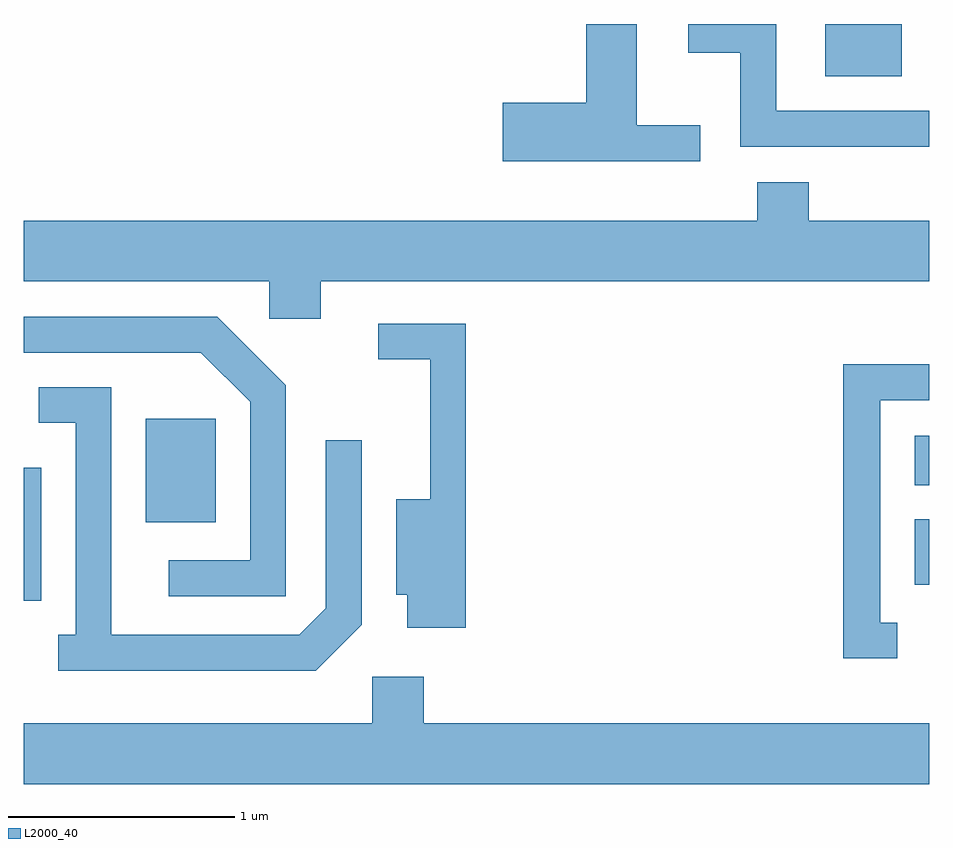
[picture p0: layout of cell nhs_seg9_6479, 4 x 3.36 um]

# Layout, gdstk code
import gdstk
lib = gdstk.Library(unit=1e-6, precision=1e-09)
def R(c, l, rs):  # rectangles x0, y0, x1, y1
    for r in rs: c.add(gdstk.rectangle(r[:2], r[2:], *l))
def P(c, l, *ps):  # polygons
    for p in ps: c.add(gdstk.Polygon(p, *l))
L2000_40 = (2000, 40)

nhs_seg9_6479 = lib.new_cell('nhs_seg9_6479')
R(nhs_seg9_6479, L2000_40, [(375.611,2065.886,375.689,2066.472), (379.546,2065.956,379.611,2066.244), (376.151,2066.231,376.459,2066.689), (379.546,2066.396,379.611,2066.614), (379.151,2068.201,379.489,2068.432)])
P(nhs_seg9_6479, L2000_40, [(378.598,2067.984),(378.319,2067.984),(378.319,2068.432),(378.096,2068.432),(378.096,2068.084),(377.726,2068.084),(377.726,2067.826),(378.598,2067.826)],
  [(379.611,2068.049),(378.934,2068.049),(378.934,2068.432),(378.546,2068.432),(378.546,2068.306),(378.776,2068.306),(378.776,2067.891),(379.611,2067.891)],
  [(376.924,2067.296),(379.611,2067.296),(379.611,2067.564),(379.079,2067.564),(379.079,2067.734),(378.851,2067.734),(378.851,2067.564),(375.611,2067.564),(375.611,2067.296),(376.696,2067.296),(376.696,2067.131),(376.924,2067.131)],
  [(376.769,2066.837),(376.467,2067.139),(375.611,2067.139),(375.611,2066.981),(376.394,2066.981),(376.611,2066.764),(376.611,2066.064),(376.253,2066.064),(376.253,2065.906),(376.769,2065.906)],
  [(377.564,2067.109),(377.178,2067.109),(377.178,2066.951),(377.406,2066.951),(377.406,2066.334),(377.256,2066.334),(377.256,2065.911),(377.306,2065.911),(377.306,2065.766),(377.564,2065.766)],
  [(379.468,2065.789),(379.394,2065.789),(379.394,2066.771),(379.611,2066.771),(379.611,2066.929),(379.231,2066.929),(379.231,2065.631),(379.468,2065.631)],
  [(377.104,2065.779),(377.104,2066.593),(376.946,2066.593),(376.946,2065.852),(376.829,2065.734),(375.999,2065.734),(375.999,2066.829),(375.678,2066.829),(375.678,2066.671),(375.841,2066.671),(375.841,2065.734),(375.763,2065.734),(375.763,2065.576),(376.902,2065.576)],
  [(379.611,2065.344),(377.379,2065.344),(377.379,2065.549),(377.151,2065.549),(377.151,2065.344),(375.611,2065.344),(375.611,2065.076),(379.611,2065.076)])

lib.write_gds('nhs_seg9_6479.gds')
